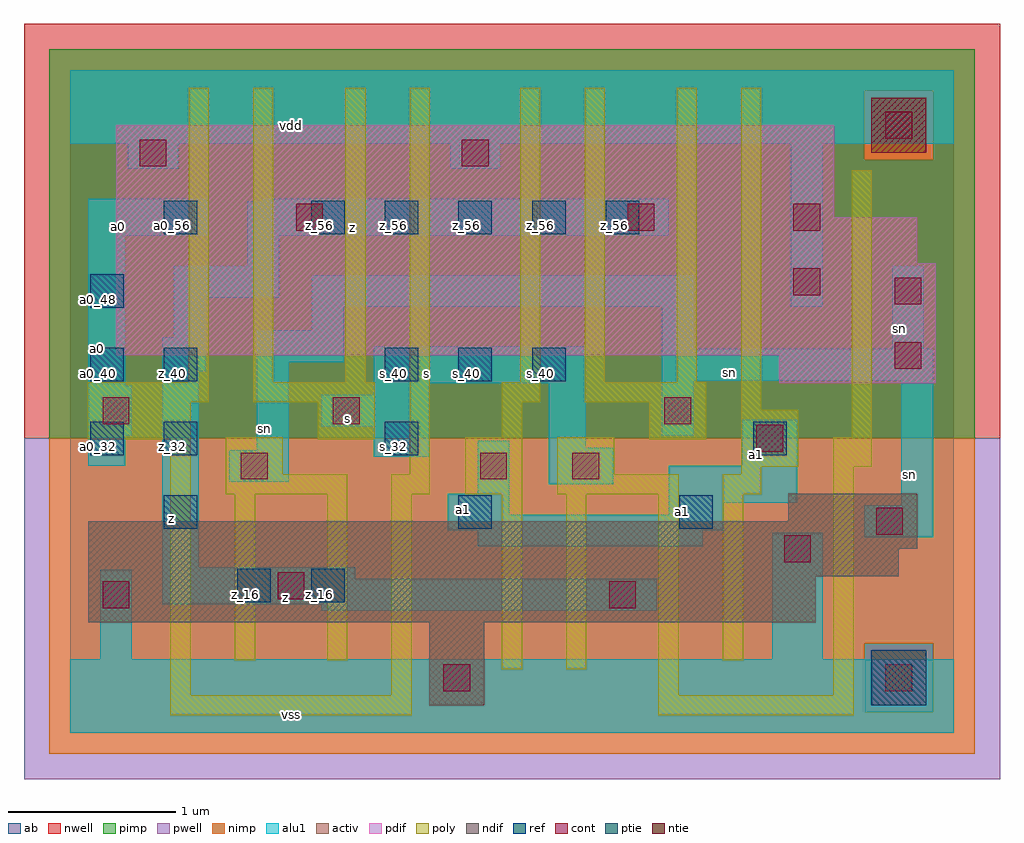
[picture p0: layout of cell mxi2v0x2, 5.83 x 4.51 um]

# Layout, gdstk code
import gdstk
lib = gdstk.Library(unit=1e-6, precision=2.5e-09)
def R(c, l, rs):  # rectangles x0, y0, x1, y1
    for r in rs: c.add(gdstk.rectangle(r[:2], r[2:], *l))
def A(c, l, x, y, w, h, nx, ny, dx, dy):  # array of equal rectangles
    R(c, l, [(x+i*dx, y+j*dy, x+i*dx+w, y+j*dy+h) for i in range(nx) for j in range(ny)])
ndif = (3, 0)
pdif = (4, 0)
ntie = (5, 0)
ptie = (6, 0)
ref = (24, 0)
cont = (25, 0)
pwell = (41, 0)
nwell = (42, 0)
activ = (43, 0)
pimp = (44, 0)
nimp = (45, 0)
poly = (46, 0)
alu1 = (49, 0)
ab = (63, 0)

mxi2v0x2 = lib.new_cell('mxi2v0x2')
R(mxi2v0x2, ndif, [(2.145,0.165,2.475,0.66), (0.11,0.66,4.455,0.935), (0.11,0.935,4.95,1.1), (0.11,1.1,5.06,1.265), (4.29,1.265,5.06,1.43)])
R(mxi2v0x2, pdif, [(4.235,2.09,5.17,2.255), (0.275,2.255,5.17,2.805), (0.275,2.805,5.06,3.08), (0.275,3.08,4.565,3.63)])
R(mxi2v0x2, ntie, [(4.785,3.465,5.115,3.795)])
R(mxi2v0x2, ptie, [(4.785,0.165,5.115,0.495)])
A(mxi2v0x2, ref, 0.56, 1.22, 0.2, 0.2, 1, 3, 0, 0.44)
A(mxi2v0x2, ref, 0.12, 1.66, 0.2, 0.2, 1, 3, 0, 0.44)
A(mxi2v0x2, ref, 1.88, 2.1, 0.2, 0.2, 3, 1, 0.44, 0)
A(mxi2v0x2, ref, 1.44, 2.98, 0.2, 0.2, 5, 1, 0.44, 0)
R(mxi2v0x2, ref, [(1,0.78,1.2,0.98), (1.44,0.78,1.64,0.98), (2.32,1.22,2.52,1.42), (3.64,1.22,3.84,1.42), (1.88,1.66,2.08,1.86), (4.08,1.66,4.28,1.86), (0.56,2.98,0.76,3.18)])
R(mxi2v0x2, cont, [(2.23,0.25,2.39,0.41), (4.87,0.25,5.03,0.41), (0.195,0.745,0.355,0.905), (3.22,0.745,3.38,0.905), (1.24,0.8,1.4,0.96), (4.265,1.02,4.425,1.18), (4.815,1.185,4.975,1.345), (1.02,1.515,1.18,1.675), (2.45,1.515,2.61,1.675), (3,1.515,3.16,1.675), (4.1,1.68,4.26,1.84), (0.195,1.845,0.355,2.005), (1.57,1.845,1.73,2.005), (3.55,1.845,3.71,2.005), (4.925,2.175,5.085,2.335), (4.925,2.56,5.085,2.72), (4.32,2.615,4.48,2.775), (1.35,3,1.51,3.16), (3.33,3,3.49,3.16), (4.32,3,4.48,3.16), (0.415,3.385,0.575,3.545), (2.34,3.385,2.5,3.545), (4.87,3.55,5.03,3.71)])
R(mxi2v0x2, pwell, [(-0.275,-0.275,5.555,1.76)])
R(mxi2v0x2, nwell, [(-0.275,1.76,5.555,4.235)])
R(mxi2v0x2, activ, [(2.145,0.165,2.475,0.66), (4.785,0.165,5.115,0.495), (0.11,0.66,4.455,0.935), (0.11,0.935,4.95,1.1), (0.11,1.1,5.06,1.265), (4.29,1.265,5.06,1.43), (4.235,2.09,5.17,2.255), (0.275,2.255,5.17,2.805), (0.275,2.805,5.06,3.08), (0.275,3.08,4.565,3.63), (4.785,3.465,5.115,3.795)])
R(mxi2v0x2, pimp, [(4.745,0.125,5.155,0.535), (-0.125,1.76,5.405,3.425), (-0.125,3.425,4.745,3.835), (5.155,3.425,5.405,3.835), (-0.125,3.835,5.405,4.085)])
R(mxi2v0x2, nimp, [(-0.125,-0.125,5.405,0.125), (-0.125,0.125,4.745,0.535), (5.155,0.125,5.405,0.535), (-0.125,0.535,5.405,1.76), (4.745,3.425,5.155,3.835)])
R(mxi2v0x2, poly, [(0.6,0.105,2.04,0.225), (3.515,0.105,4.68,0.225), (0.6,0.225,0.72,1.755), (1.92,0.225,2.04,1.425), (3.515,0.225,3.635,1.425), (4.56,0.225,4.68,1.59), (2.58,0.38,2.7,1.425), (2.965,0.38,3.085,1.425), (0.985,0.435,1.105,1.425), (1.535,0.435,1.655,1.425), (3.9,0.435,4.02,1.425), (0.93,1.425,1.655,1.545), (1.92,1.425,2.15,1.545), (2.36,1.425,2.7,1.765), (2.91,1.425,3.635,1.545), (3.9,1.425,4.13,1.545), (0.93,1.545,1.27,1.765), (2.03,1.545,2.15,3.855), (2.91,1.545,3.25,1.765), (4.01,1.545,4.13,1.59), (4.01,1.59,4.35,1.93), (4.56,1.59,4.79,1.765), (0.105,1.755,0.72,1.975), (1.48,1.755,1.82,1.975), (3.46,1.755,3.8,1.975), (2.58,1.765,2.7,1.975), (4.67,1.765,4.79,3.36), (4.01,1.93,4.13,3.855), (0.105,1.975,0.83,2.095), (1.095,1.975,1.82,2.095), (2.58,1.975,2.81,2.095), (3.075,1.975,3.8,2.095), (0.71,2.095,0.83,3.855), (1.095,2.095,1.215,3.855), (1.645,2.095,1.765,3.855), (2.69,2.095,2.81,3.855), (3.075,2.095,3.195,3.855), (3.625,2.095,3.745,3.855)])
R(mxi2v0x2, alu1, [(0,0,5.28,0.44), (0.18,0.44,0.37,0.975), (4.195,0.44,4.495,1.195), (1.5,0.73,3.505,0.77), (0.55,0.77,3.505,0.92), (0.55,0.92,1.705,0.99), (0.55,0.99,0.77,2.16), (2.435,1.115,3.78,1.21), (4.745,1.17,5.155,1.36), (2.255,1.21,3.905,1.305), (2.255,1.305,2.625,1.43), (3.575,1.305,3.905,1.375), (4.965,1.36,5.155,2.105), (3.575,1.375,4.345,1.595), (2.435,1.43,2.625,1.745), (2.86,1.485,3.245,1.705), (0.95,1.5,1.305,1.69), (0.11,1.595,0.33,1.775), (4.015,1.595,4.345,1.87), (1.815,1.65,2.145,1.83), (1.115,1.69,1.305,2.215), (2.86,1.705,3.08,2.09), (0.11,1.775,0.37,2.075), (3.535,1.775,3.725,2.105), (1.5,1.83,2.145,2.02), (1.815,2.02,2.145,2.09), (0.11,2.075,0.33,2.97), (1.815,2.09,3.08,2.31), (3.535,2.105,5.155,2.295), (0.55,2.16,0.81,2.365), (1.115,2.215,1.635,2.405), (3.535,2.295,3.725,2.545), (4.91,2.295,5.1,2.79), (0.62,2.365,0.81,2.6), (1.445,2.405,1.635,2.545), (1.445,2.545,3.725,2.735), (4.305,2.545,4.495,3.52), (0.62,2.6,1.25,2.79), (1.06,2.79,1.25,2.97), (0.11,2.97,0.825,3.19), (1.06,2.97,3.575,3.175), (1.155,3.175,3.575,3.19), (0.345,3.37,0.645,3.52), (2.27,3.37,2.57,3.52), (0,3.52,5.28,3.96)])
R(mxi2v0x2, ab, [(0,0,5.28,3.96)])
mxi2v0x2.add(gdstk.Label('vss', (1.32,0.11), layer=49, texttype=0))
mxi2v0x2.add(gdstk.Label('z', (1.2875,0.8075), layer=49, texttype=0))
mxi2v0x2.add(gdstk.Label('sn', (5.0125,1.545), layer=49, texttype=0))
mxi2v0x2.add(gdstk.Label('a1', (3.6575,1.3225), layer=49, texttype=0))
mxi2v0x2.add(gdstk.Label('a1', (2.3475,1.335), layer=49, texttype=0))
mxi2v0x2.add(gdstk.Label('a1', (4.0975,1.6625), layer=49, texttype=0))
mxi2v0x2.add(gdstk.Label('sn', (3.94,2.1525), layer=49, texttype=0))
mxi2v0x2.add(gdstk.Label('sn', (4.9575,2.4175), layer=49, texttype=0))
mxi2v0x2.add(gdstk.Label('s', (1.66,1.8775), layer=49, texttype=0))
mxi2v0x2.add(gdstk.Label('s', (2.13,2.145), layer=49, texttype=0))
mxi2v0x2.add(gdstk.Label('sn', (1.1625,1.82), layer=49, texttype=0))
mxi2v0x2.add(gdstk.Label('z', (0.605,1.2825), layer=49, texttype=0))
mxi2v0x2.add(gdstk.Label('a0', (0.165,2.2975), layer=49, texttype=0))
mxi2v0x2.add(gdstk.Label('z', (1.6875,3.02), layer=49, texttype=0))
mxi2v0x2.add(gdstk.Label('a0', (0.2875,3.025), layer=49, texttype=0))
mxi2v0x2.add(gdstk.Label('vdd', (1.32,3.63), layer=49, texttype=0))
mxi2v0x2.add(gdstk.Label('a1_24', (2.37,1.27), layer=24, texttype=0))
mxi2v0x2.add(gdstk.Label('s_32', (1.93,1.71), layer=24, texttype=0))
mxi2v0x2.add(gdstk.Label('s_40', (2.81,2.15), layer=24, texttype=0))
mxi2v0x2.add(gdstk.Label('s_40', (2.37,2.15), layer=24, texttype=0))
mxi2v0x2.add(gdstk.Label('s_40', (1.93,2.15), layer=24, texttype=0))
mxi2v0x2.add(gdstk.Label('a0_56', (0.61,3.03), layer=24, texttype=0))
mxi2v0x2.add(gdstk.Label('a0_32', (0.17,1.71), layer=24, texttype=0))
mxi2v0x2.add(gdstk.Label('a0_48', (0.17,2.59), layer=24, texttype=0))
mxi2v0x2.add(gdstk.Label('a0_40', (0.17,2.15), layer=24, texttype=0))
mxi2v0x2.add(gdstk.Label('a1_24', (3.69,1.27), layer=24, texttype=0))
mxi2v0x2.add(gdstk.Label('z_24', (0.61,1.27), layer=24, texttype=0))
mxi2v0x2.add(gdstk.Label('z_32', (0.61,1.71), layer=24, texttype=0))
mxi2v0x2.add(gdstk.Label('z_40', (0.61,2.15), layer=24, texttype=0))
mxi2v0x2.add(gdstk.Label('z_56', (3.25,3.03), layer=24, texttype=0))
mxi2v0x2.add(gdstk.Label('z_56', (2.81,3.03), layer=24, texttype=0))
mxi2v0x2.add(gdstk.Label('z_56', (2.37,3.03), layer=24, texttype=0))
mxi2v0x2.add(gdstk.Label('z_56', (1.93,3.03), layer=24, texttype=0))
mxi2v0x2.add(gdstk.Label('z_56', (1.49,3.03), layer=24, texttype=0))
mxi2v0x2.add(gdstk.Label('a1_32', (4.13,1.71), layer=24, texttype=0))
mxi2v0x2.add(gdstk.Label('z_16', (1.49,0.83), layer=24, texttype=0))
mxi2v0x2.add(gdstk.Label('z_16', (1.05,0.83), layer=24, texttype=0))

lib.write_gds('mxi2v0x2.gds')
